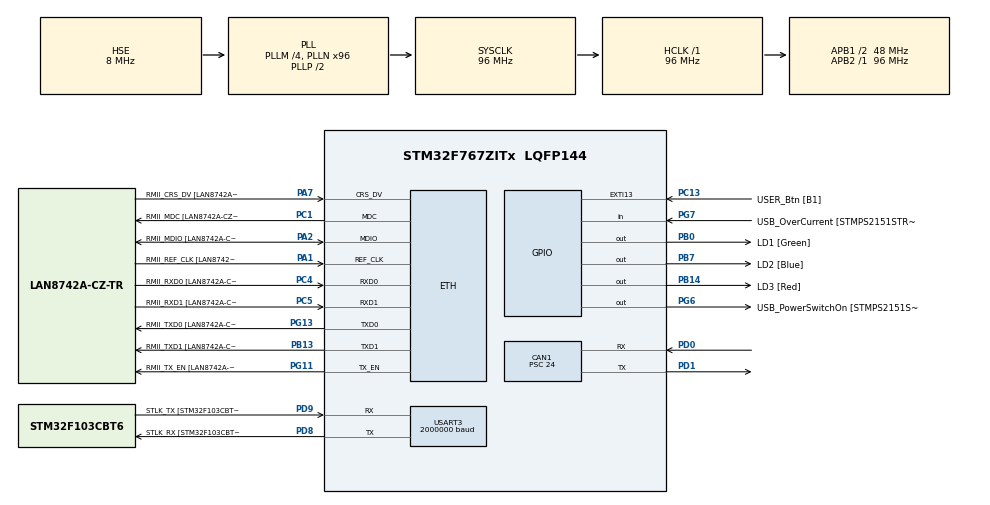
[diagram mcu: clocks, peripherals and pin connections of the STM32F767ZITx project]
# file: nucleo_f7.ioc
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CAN1.BS1=CAN_BS1_2TQ
CAN1.CalculateBaudRate=500000
CAN1.CalculateTimeBit=2000
CAN1.CalculateTimeQuantum=500.0
CAN1.Prescaler=24
ETH.MediaInterface=HAL_ETH_RMII_MODE
ETH.PHY_Name=LAN8742A_PHY_ADDRESS
ETH.PHY_Value=0
ETH.PhyAddress=0
FREERTOS.BinarySemaphores01=myBinarySem01,Dynamic,NULL;myBinarySem02,Dynamic,NULL
FREERTOS.Mutexes01=myMutex01,Dynamic,NULL
FREERTOS.Tasks01=defaultTask,0,128,StartDefaultTask,Default,NULL,Dynamic,NULL,NULL;Inv_KM,-3,128,StartTask02,Default,NULL,Dynamic,NULL,NULL;trajectry,-3,128,StartTask03,Default,NULL,Dynamic,NULL,NULL
Mcu.Family=STM32F7
Mcu.Name=STM32F767ZITx
Mcu.Package=LQFP144
NVIC.CAN1_RX0_IRQn=true\:5\:0\:false\:false\:true\:true\:true\:true\:true
NVIC.CAN1_RX1_IRQn=true\:5\:0\:false\:false\:true\:true\:true\:true\:true
NVIC.PriorityGroup=NVIC_PRIORITYGROUP_4
NVIC.TIM1_UP_TIM10_IRQn=true\:15\:0\:false\:false\:true\:false\:false\:true\:true
NVIC.TimeBase=TIM1_UP_TIM10_IRQn
NVIC.TimeBaseIP=TIM1
NVIC.USART3_IRQn=true\:5\:0\:false\:false\:true\:true\:true\:true\:true
PA1.GPIO_Label=RMII_REF_CLK [LAN8742A-CZ-TR_REFCLK0]
PA1.Mode=RMII
PA1.Signal=ETH_REF_CLK
PA10.GPIO_Label=USB_ID
PA10.Signal=USB_OTG_FS_ID
PA11.GPIO_Mode=GPIO_MODE_AF_PP
PA11.GPIO_PuPd=GPIO_NOPULL
PA11.GPIO_Speed=GPIO_SPEED_FREQ_VERY_HIGH
PA11.Signal=USB_OTG_FS_DM
PA12.GPIO_Mode=GPIO_MODE_AF_PP
PA12.GPIO_PuPd=GPIO_NOPULL
PA12.GPIO_Speed=GPIO_SPEED_FREQ_VERY_HIGH
PA12.Signal=USB_OTG_FS_DP
PA13.GPIO_Label=TMS
PA13.Mode=Serial_Wire
PA13.Signal=SYS_JTMS-SWDIO
PA14.GPIO_Label=TCK
PA14.Mode=Serial_Wire
PA14.Signal=SYS_JTCK-SWCLK
PA2.GPIO_Label=RMII_MDIO [LAN8742A-CZ-TR_MDIO]
PA2.Mode=RMII
PA2.Signal=ETH_MDIO
PA7.GPIO_Label=RMII_CRS_DV [LAN8742A-CZ-TR_CRS_DV]
PA7.Mode=RMII
PA7.Signal=ETH_CRS_DV
PA8.GPIO_Label=USB_SOF [TP1]
PA8.Signal=USB_OTG_FS_SOF
PA9.GPIO_Label=USB_VBUS
PA9.Signal=USB_OTG_FS_VBUS
PB0.GPIO_Label=LD1 [Green]
PB0.Signal=GPIO_Output
PB13.GPIO_Label=RMII_TXD1 [LAN8742A-CZ-TR_TXD1]
PB13.Mode=RMII
PB13.Signal=ETH_TXD1
PB14.GPIO_Label=LD3 [Red]
PB14.Signal=GPIO_Output
PB3.GPIO_Label=SWO
PB3.Signal=SYS_JTDO-SWO
PB7.GPIO_Label=LD2 [Blue]
PB7.Signal=GPIO_Output
PC1.GPIO_Label=RMII_MDC [LAN8742A-CZ-TR_MDC]
PC1.Mode=RMII
PC1.Signal=ETH_MDC
PC13.GPIO_Label=USER_Btn [B1]
PC13.Signal=GPXTI13
PC14/OSC32_IN.Mode=LSE-External-Oscillator
PC14/OSC32_IN.Signal=RCC_OSC32_IN
PC15/OSC32_OUT.Mode=LSE-External-Oscillator
PC15/OSC32_OUT.Signal=RCC_OSC32_OUT
PC4.GPIO_Label=RMII_RXD0 [LAN8742A-CZ-TR_RXD0]
PC4.Mode=RMII
PC4.Signal=ETH_RXD0
PC5.GPIO_Label=RMII_RXD1 [LAN8742A-CZ-TR_RXD1]
PC5.Mode=RMII
PC5.Signal=ETH_RXD1
PD0.Mode=CAN_Activate
PD0.Signal=CAN1_RX
PD1.Mode=CAN_Activate
PD1.Signal=CAN1_TX
PD8.GPIO_Label=STLK_RX [STM32F103CBT6_PA3]
PD8.Mode=Asynchronous
PD8.Signal=USART3_TX
PD9.GPIO_Label=STLK_TX [STM32F103CBT6_PA2]
PD9.Mode=Asynchronous
PD9.Signal=USART3_RX
PG11.GPIO_Label=RMII_TX_EN [LAN8742A-CZ-TR_TXEN]
PG11.Mode=RMII
PG11.Signal=ETH_TX_EN
PG13.GPIO_Label=RMII_TXD0 [LAN8742A-CZ-TR_TXD0]
PG13.Mode=RMII
PG13.Signal=ETH_TXD0
PG6.GPIO_Label=USB_PowerSwitchOn [STMPS2151STR_EN]
PG6.Signal=GPIO_Output
PG7.GPIO_Label=USB_OverCurrent [STMPS2151STR_FAULT]
PG7.Signal=GPIO_Input
PH0/OSC_IN.GPIO_Label=MCO [STM32F103CBT6_PA8]
PH0/OSC_IN.Mode=HSE-External-Oscillator
PH0/OSC_IN.Signal=RCC_OSC_IN
PH1/OSC_OUT.Mode=HSE-External-Oscillator
PH1/OSC_OUT.Signal=RCC_OSC_OUT
ProjectManager.HeapSize=0x200
ProjectManager.StackSize=0x400
ProjectManager.TargetToolchain=MDK-ARM V5.32
RCC.48MHZClocksFreq_Value=24000000
RCC.AHBFreq_Value=96000000
RCC.APB1CLKDivider=RCC_HCLK_DIV2
RCC.APB1Freq_Value=48000000
RCC.APB1TimFreq_Value=96000000
RCC.APB2Freq_Value=96000000
RCC.APB2TimCLKDivider=1
RCC.APB2TimFreq_Value=96000000
RCC.CortexFreq_Value=96000000
RCC.HCLKFreq_Value=96000000
RCC.HSE_VALUE=8000000
RCC.HSI_VALUE=16000000
RCC.PLLM=4
RCC.PLLMUL=RCC_PLL_MUL9
RCC.PLLN=96
RCC.PLLQ=4
RCC.PLLSourceVirtual=RCC_PLLSOURCE_HSE
RCC.PREFETCH_ENABLE=1
RCC.PRESCALERUSB=RCC_USBCLKSOURCE_PLL_DIV1_5
RCC.SYSCLKFreq_VALUE=96000000
RCC.SYSCLKSource=RCC_SYSCLKSOURCE_PLLCLK
RCC.SYSCLKSourceVirtual=RCC_SYSCLKSOURCE_PLLCLK
RCC.USBFreq_Value=48000000
RCC.VCOOutputFreq_Value=192000000
USART3.BaudRate=2000000
USART3.VirtualMode-Asynchronous=VM_ASYNC
VP_FREERTOS_VS_CMSIS_V1.Mode=CMSIS_V1
VP_SYS_VS_tim1.Mode=TIM1
board=NUCLEO-F767ZI

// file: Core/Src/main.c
/* USER CODE BEGIN Header */
/**
  ******************************************************************************
  * @file           : main.c
  * @brief          : Main program body
  ******************************************************************************
  * @attention
  *
  * Copyright (c) 2023 STMicroelectronics.
  * All rights reserved.
  *
  * This software is licensed under terms that can be found in the LICENSE file
  * in the root directory of this software component.
  * If no LICENSE file comes with this software, it is provided AS-IS.
  *
  ******************************************************************************
  */
/* USER CODE END Header */
#include "main.h"
#include "string.h"
#include "cmsis_os.h"

/* USER CODE BEGIN Includes */
#include <math.h>
#include <stdio.h>
double a=0,b=0,c=0;
double l1=173,l2=100,z0=300;
double t1,t2,zt;
double x=123,y=123,z=123;
char buffer[13];

uint8_t rxBuffer[15];
uint8_t rxdata[10];
uint8_t rxIndex = 0;
int 	 re[10];
double a1,a2,a3;
char txBuffer[32];
/* USER CODE END Includes */

#if defined ( __ICCARM__ ) /*!< IAR Compiler */
#pragma location=0x2007c000
ETH_DMADescTypeDef  DMARxDscrTab[ETH_RX_DESC_CNT]; /* Ethernet Rx DMA Descriptors */
#pragma location=0x2007c0a0
ETH_DMADescTypeDef  DMATxDscrTab[ETH_TX_DESC_CNT]; /* Ethernet Tx DMA Descriptors */

#elif defined ( __CC_ARM )  /* MDK ARM Compiler */

__attribute__((at(0x2007c000))) ETH_DMADescTypeDef  DMARxDscrTab[ETH_RX_DESC_CNT]; /* Ethernet Rx DMA Descriptors */
__attribute__((at(0x2007c0a0))) ETH_DMADescTypeDef  DMATxDscrTab[ETH_TX_DESC_CNT]; /* Ethernet Tx DMA Descriptors */

#elif defined ( __GNUC__ ) /* GNU Compiler */
ETH_DMADescTypeDef DMARxDscrTab[ETH_RX_DESC_CNT] __attribute__((section(".RxDecripSection"))); /* Ethernet Rx DMA Descriptors */
ETH_DMADescTypeDef DMATxDscrTab[ETH_TX_DESC_CNT] __attribute__((section(".TxDecripSection")));   /* Ethernet Tx DMA Descriptors */

#endif

ETH_TxPacketConfig TxConfig;

CAN_HandleTypeDef hcan1;

ETH_HandleTypeDef heth;

UART_HandleTypeDef huart3;

osThreadId defaultTaskHandle;
osThreadId Inv_KMHandle;
osThreadId trajectryHandle;
osMutexId myMutex01Handle;
osSemaphoreId myBinarySem01Handle;
osSemaphoreId myBinarySem02Handle;

void SystemClock_Config(void);
static void MX_GPIO_Init(void);
static void MX_ETH_Init(void);
static void MX_USART3_UART_Init(void);
static void MX_CAN1_Init(void);
void StartDefaultTask(void const * argument);
void StartTask02(void const * argument);
void StartTask03(void const * argument);

/* USER CODE BEGIN 0 */
void func(void);
void cant(void);
	CAN_TxHeaderTypeDef   TxHeader;
CAN_RxHeaderTypeDef   RxHeader;
uint8_t               TxData[9];
uint8_t               RxData[8];
uint8_t               RxData1[9];
uint32_t              TxMailbox;
int datacheck=0,angle1,angle2,angle3;
void HAL_CAN_RxFifo1MsgPendingCallback(CAN_HandleTypeDef *hcan)
{
	datacheck=1;
	//HAL_CAN_GetRxMessage(hcan,CAN_RX_FIFO1,&RxHeader,RxData);
      if (HAL_CAN_GetRxMessage(hcan, CAN_RX_FIFO1,&RxHeader,RxData)!=HAL_OK)
  {
    Error_Handler();
  }
	if (RxHeader.StdId==0x124)
      {
        RxData1[0]=RxData[0];
				RxData1[1]=RxData[1];
	   		RxData1[2]=RxData[2];
	angle1=(RxData[0]*100)+(RxData[1]*10)+(RxData[2]*1);
      }
	if (RxHeader.StdId==0x136)
      {
	    RxData1[3]=RxData[0];
			RxData1[4]=RxData[1];
		  RxData1[5]=RxData[2];
	angle2=(RxData[0]*100)+(RxData[1]*10)+(RxData[2]*1);
      }
	if (RxHeader.StdId==0x177)
      {
		    RxData1[6]=RxData[0];
				RxData1[7]=RxData[1];
			 RxData1[8]=RxData[2];
	angle3=(RxData[0]*100)+(RxData[1]*10)+(RxData[2]*1);
      }

		}

/* USER CODE END 0 */

int main(void)
{

  /* MCU Configuration--------------------------------------------------------*/

  /* Reset of all peripherals, Initializes the Flash interface and the Systick. */
  HAL_Init();

  /* Configure the system clock */
  SystemClock_Config();

  /* Initialize all configured peripherals */
  MX_GPIO_Init();
  MX_ETH_Init();
  MX_USART3_UART_Init();
  MX_CAN1_Init();

  /* Create the mutex(es) */
  /* definition and creation of myMutex01 */
  osMutexDef(myMutex01);
  myMutex01Handle = osMutexCreate(osMutex(myMutex01));

  /* Create the semaphores(s) */
  /* definition and creation of myBinarySem01 */
  osSemaphoreDef(myBinarySem01);
  myBinarySem01Handle = osSemaphoreCreate(osSemaphore(myBinarySem01), 1);

  /* definition and creation of myBinarySem02 */
  osSemaphoreDef(myBinarySem02);
  myBinarySem02Handle = osSemaphoreCreate(osSemaphore(myBinarySem02), 1);

  /* Create the thread(s) */
  /* definition and creation of defaultTask */
  osThreadDef(defaultTask, StartDefaultTask, osPriorityNormal, 0, 128);
  defaultTaskHandle = osThreadCreate(osThread(defaultTask), NULL);

  /* definition and creation of Inv_KM */
  osThreadDef(Inv_KM, StartTask02, osPriorityIdle, 0, 128);
  Inv_KMHandle = osThreadCreate(osThread(Inv_KM), NULL);

  /* definition and creation of trajectry */
  osThreadDef(trajectry, StartTask03, osPriorityIdle, 0, 128);
  trajectryHandle = osThreadCreate(osThread(trajectry), NULL);

  /* USER CODE BEGIN RTOS_THREADS */
		 HAL_CAN_Start(&hcan1);
HAL_CAN_ActivateNotification(&hcan1, CAN_IT_RX_FIFO1_MSG_PENDING);
TxHeader.DLC =10;
RxHeader.DLC =3;
TxHeader.IDE = CAN_ID_STD;
TxHeader.RTR = CAN_RTR_DATA;
TxHeader.StdId = 0xFFFE;
TxHeader.TransmitGlobalTime=DISABLE;
TxHeader.ExtId=0;
HAL_UART_Init(&huart3);
 HAL_UART_Receive_IT(&huart3,rxBuffer,13);
  /* add threads, ... */
  /* USER CODE END RTOS_THREADS */

  /* Start scheduler */
  osKernelStart();
  /* We should never get here as control is now taken by the scheduler */
  /* Infinite loop */
  while (1)
  {

  }
}

void SystemClock_Config(void)
{
  RCC_OscInitTypeDef RCC_OscInitStruct = {0};
  RCC_ClkInitTypeDef RCC_ClkInitStruct = {0};

  /** Configure LSE Drive Capability
  */
  HAL_PWR_EnableBkUpAccess();

  /** Configure the main internal regulator output voltage
  */
  __HAL_RCC_PWR_CLK_ENABLE();
  __HAL_PWR_VOLTAGESCALING_CONFIG(PWR_REGULATOR_VOLTAGE_SCALE3);

  /** Initializes the RCC Oscillators according to the specified parameters
  * in the RCC_OscInitTypeDef structure.
  */
  RCC_OscInitStruct.OscillatorType = RCC_OSCILLATORTYPE_HSE;
  RCC_OscInitStruct.HSEState = RCC_HSE_ON;
  RCC_OscInitStruct.PLL.PLLState = RCC_PLL_ON;
  RCC_OscInitStruct.PLL.PLLSource = RCC_PLLSOURCE_HSE;
  RCC_OscInitStruct.PLL.PLLM = 4;
  RCC_OscInitStruct.PLL.PLLN = 96;
  RCC_OscInitStruct.PLL.PLLP = RCC_PLLP_DIV2;
  RCC_OscInitStruct.PLL.PLLQ = 4;
  RCC_OscInitStruct.PLL.PLLR = 2;
  if (HAL_RCC_OscConfig(&RCC_OscInitStruct) != HAL_OK)
  {
    Error_Handler();
  }

  /** Activate the Over-Drive mode
  */
  if (HAL_PWREx_EnableOverDrive() != HAL_OK)
  {
    Error_Handler();
  }

  /** Initializes the CPU, AHB and APB buses clocks
  */
  RCC_ClkInitStruct.ClockType = RCC_CLOCKTYPE_HCLK|RCC_CLOCKTYPE_SYSCLK
                              |RCC_CLOCKTYPE_PCLK1|RCC_CLOCKTYPE_PCLK2;
  RCC_ClkInitStruct.SYSCLKSource = RCC_SYSCLKSOURCE_PLLCLK;
  RCC_ClkInitStruct.AHBCLKDivider = RCC_SYSCLK_DIV1;
  RCC_ClkInitStruct.APB1CLKDivider = RCC_HCLK_DIV2;
  RCC_ClkInitStruct.APB2CLKDivider = RCC_HCLK_DIV1;

  if (HAL_RCC_ClockConfig(&RCC_ClkInitStruct, FLASH_LATENCY_3) != HAL_OK)
  {
    Error_Handler();
  }
}

static void MX_CAN1_Init(void)
{

  hcan1.Instance = CAN1;
  hcan1.Init.Prescaler = 24;
  hcan1.Init.Mode = CAN_MODE_NORMAL;
  hcan1.Init.SyncJumpWidth = CAN_SJW_1TQ;
  hcan1.Init.TimeSeg1 = CAN_BS1_2TQ;
  hcan1.Init.TimeSeg2 = CAN_BS2_1TQ;
  hcan1.Init.TimeTriggeredMode = DISABLE;
  hcan1.Init.AutoBusOff = DISABLE;
  hcan1.Init.AutoWakeUp = DISABLE;
  hcan1.Init.AutoRetransmission = DISABLE;
  hcan1.Init.ReceiveFifoLocked = DISABLE;
  hcan1.Init.TransmitFifoPriority = DISABLE;
  if (HAL_CAN_Init(&hcan1) != HAL_OK)
  {
    Error_Handler();
  }
  /* USER CODE BEGIN CAN1_Init 2 */
 CAN_FilterTypeDef canfilterconfig;
  canfilterconfig.FilterActivation = CAN_FILTER_ENABLE;
  canfilterconfig.FilterBank =18;  // which filter bank to use from the assigned ones
  canfilterconfig.FilterFIFOAssignment = CAN_FILTER_FIFO1;
  canfilterconfig.FilterIdHigh = 0x124<<5;
  canfilterconfig.FilterIdLow = 0x0000;
  canfilterconfig.FilterMaskIdHigh = 0x124<<5;
  canfilterconfig.FilterMaskIdLow = 0x0000;
  canfilterconfig.FilterMode = CAN_FILTERMODE_IDMASK;
  canfilterconfig.FilterScale = CAN_FILTERSCALE_32BIT;
  canfilterconfig.SlaveStartFilterBank =40;  // how many filters to assign to the CAN1 (master can)
  HAL_CAN_ConfigFilter(&hcan1,&canfilterconfig);

  /* USER CODE END CAN1_Init 2 */

}

static void MX_ETH_Init(void)
{

   static uint8_t MACAddr[6];

  heth.Instance = ETH;
  MACAddr[0] = 0x00;
  MACAddr[1] = 0x80;
  MACAddr[2] = 0xE1;
  MACAddr[3] = 0x00;
  MACAddr[4] = 0x00;
  MACAddr[5] = 0x00;
  heth.Init.MACAddr = &MACAddr[0];
  heth.Init.MediaInterface = HAL_ETH_RMII_MODE;
  heth.Init.TxDesc = DMATxDscrTab;
  heth.Init.RxDesc = DMARxDscrTab;
  heth.Init.RxBuffLen = 1524;

  if (HAL_ETH_Init(&heth) != HAL_OK)
  {
    Error_Handler();
  }

  memset(&TxConfig, 0 , sizeof(ETH_TxPacketConfig));
  TxConfig.Attributes = ETH_TX_PACKETS_FEATURES_CSUM | ETH_TX_PACKETS_FEATURES_CRCPAD;
  TxConfig.ChecksumCtrl = ETH_CHECKSUM_IPHDR_PAYLOAD_INSERT_PHDR_CALC;
  TxConfig.CRCPadCtrl = ETH_CRC_PAD_INSERT;

}

static void MX_USART3_UART_Init(void)
{

  huart3.Instance = USART3;
  huart3.Init.BaudRate = 2000000;
  huart3.Init.WordLength = UART_WORDLENGTH_8B;
  huart3.Init.StopBits = UART_STOPBITS_1;
  huart3.Init.Parity = UART_PARITY_NONE;
  huart3.Init.Mode = UART_MODE_TX_RX;
  huart3.Init.HwFlowCtl = UART_HWCONTROL_NONE;
  huart3.Init.OverSampling = UART_OVERSAMPLING_16;
  huart3.Init.OneBitSampling = UART_ONE_BIT_SAMPLE_DISABLE;
  huart3.AdvancedInit.AdvFeatureInit = UART_ADVFEATURE_NO_INIT;
  if (HAL_UART_Init(&huart3) != HAL_OK)
  {
    Error_Handler();
  }

}

static void MX_GPIO_Init(void)
{
  GPIO_InitTypeDef GPIO_InitStruct = {0};

  /* GPIO Ports Clock Enable */
  __HAL_RCC_GPIOC_CLK_ENABLE();
  __HAL_RCC_GPIOH_CLK_ENABLE();
  __HAL_RCC_GPIOA_CLK_ENABLE();
  __HAL_RCC_GPIOB_CLK_ENABLE();
  __HAL_RCC_GPIOD_CLK_ENABLE();
  __HAL_RCC_GPIOG_CLK_ENABLE();

  /*Configure GPIO pin Output Level */
  HAL_GPIO_WritePin(GPIOB, LD1_Pin|LD3_Pin|LD2_Pin, GPIO_PIN_RESET);

  /*Configure GPIO pin Output Level */
  HAL_GPIO_WritePin(USB_PowerSwitchOn_GPIO_Port, USB_PowerSwitchOn_Pin, GPIO_PIN_RESET);

  /*Configure GPIO pin : USER_Btn_Pin */
  GPIO_InitStruct.Pin = USER_Btn_Pin;
  GPIO_InitStruct.Mode = GPIO_MODE_IT_RISING;
  GPIO_InitStruct.Pull = GPIO_NOPULL;
  HAL_GPIO_Init(USER_Btn_GPIO_Port, &GPIO_InitStruct);

  /*Configure GPIO pins : LD1_Pin LD3_Pin LD2_Pin */
  GPIO_InitStruct.Pin = LD1_Pin|LD3_Pin|LD2_Pin;
  GPIO_InitStruct.Mode = GPIO_MODE_OUTPUT_PP;
  GPIO_InitStruct.Pull = GPIO_NOPULL;
  GPIO_InitStruct.Speed = GPIO_SPEED_FREQ_LOW;
  HAL_GPIO_Init(GPIOB, &GPIO_InitStruct);

  /*Configure GPIO pin : USB_PowerSwitchOn_Pin */
  GPIO_InitStruct.Pin = USB_PowerSwitchOn_Pin;
  GPIO_InitStruct.Mode = GPIO_MODE_OUTPUT_PP;
  GPIO_InitStruct.Pull = GPIO_NOPULL;
  GPIO_InitStruct.Speed = GPIO_SPEED_FREQ_LOW;
  HAL_GPIO_Init(USB_PowerSwitchOn_GPIO_Port, &GPIO_InitStruct);

  /*Configure GPIO pin : USB_OverCurrent_Pin */
  GPIO_InitStruct.Pin = USB_OverCurrent_Pin;
  GPIO_InitStruct.Mode = GPIO_MODE_INPUT;
  GPIO_InitStruct.Pull = GPIO_NOPULL;
  HAL_GPIO_Init(USB_OverCurrent_GPIO_Port, &GPIO_InitStruct);

  /*Configure GPIO pins : USB_SOF_Pin USB_ID_Pin PA11 PA12 */
  GPIO_InitStruct.Pin = USB_SOF_Pin|USB_ID_Pin|GPIO_PIN_11|GPIO_PIN_12;
  GPIO_InitStruct.Mode = GPIO_MODE_AF_PP;
  GPIO_InitStruct.Pull = GPIO_NOPULL;
  GPIO_InitStruct.Speed = GPIO_SPEED_FREQ_VERY_HIGH;
  GPIO_InitStruct.Alternate = GPIO_AF10_OTG_FS;
  HAL_GPIO_Init(GPIOA, &GPIO_InitStruct);

  /*Configure GPIO pin : USB_VBUS_Pin */
  GPIO_InitStruct.Pin = USB_VBUS_Pin;
  GPIO_InitStruct.Mode = GPIO_MODE_INPUT;
  GPIO_InitStruct.Pull = GPIO_NOPULL;
  HAL_GPIO_Init(USB_VBUS_GPIO_Port, &GPIO_InitStruct);

}

/* USER CODE BEGIN 4 */

 void HAL_UART_RxCpltCallback(UART_HandleTypeDef*huart)
{
	   	 re[0]=rxBuffer[0]-'0';
	     re[1]=rxBuffer[1]-'0';
	     re[2]=rxBuffer[2]-'0';
	     re[3]=rxBuffer[3]-'0';
	     re[4]=rxBuffer[5]-'0';
	     re[5]=rxBuffer[6]-'0';
	     re[6]=rxBuffer[7]-'0';
	     re[7]=rxBuffer[9]-'0';
	     re[8]=rxBuffer[10]-'0';
	     re[9]=rxBuffer[11]-'0';
   HAL_UART_Receive_IT(&huart3,rxBuffer,13);
	     //osSemaphoreRelease(myBinarySem01Handle);
	func();

}
void func()
{
  x=re[1]*100+re[2]*10+re[3];
	     y=re[4]*100+re[5]*10+re[6];
	     z=re[7]*100+re[8]*10+re[9];
	if(re[0]==1)
	{
	t2=300*acos((x*x+y*y-l1*l1-l2*l2)/(2*l1*l2));
	a=cos(t2/300);
	b=sin(t2/300);
	t1=300*atan2((l2*b*x+(l1+l2*a)*y),(-l2*b*y+(l1+l2*a)*x));
	zt=z0-z;
	sprintf(buffer,"\nI%d,%d,%d#",(int)t1,(int)t2,(int)zt);
	HAL_UART_Transmit(&huart3, (uint8_t*)buffer, strlen(buffer),0xFFFF);
		//cant();
	}
	if(re[0]==2)
	{
	      t1=x;
		    t2=y;
		    zt=z;
		cant();
	}

}
void cant()
{
 TxData[0]=(int)t1/100;
	       TxData[1]=((int)t1/10)%10;
	       TxData[2]=(int)t1%10;
	       TxData[3]=(int)t2/100;
	       TxData[4]=((int)t2/10)%10;
	       TxData[5]=(int)t2%10;
	       TxData[6]=((int)zt/100);
	       TxData[7]=((int)zt/10)%10;
	       TxData[8]=(int)zt%10;
				HAL_CAN_AddTxMessage(&hcan1,&TxHeader,TxData,&TxMailbox);
}

/* USER CODE END 4 */

void StartDefaultTask(void const * argument)
{
  /* USER CODE BEGIN 5 */
  /* Infinite loop */
  for(;;)
  {
		//	osSemaphoreWait(myBinarySem02Handle,osWaitForever);

    osDelay(50);
  }
  /* USER CODE END 5 */
}

void StartTask02(void const * argument)
{
  /* USER CODE BEGIN StartTask02 */
  /* Infinite loop */
  for(;;)
  {

		//osSemaphoreWait(myBinarySem01Handle,osWaitForever);

	//osSemaphoreRelease(myBinarySem02Handle);
    osDelay(20);

  }
  /* USER CODE END StartTask02 */
}

void StartTask03(void const * argument)
{
  /* USER CODE BEGIN StartTask03 */
  /* Infinite loop */
  for(;;)
  {
		   if(datacheck==1)
			 {
				 sprintf(buffer,"\nCurrent_Motor_Angles:%i,%i,%i$",angle1,angle2,angle3);
	      HAL_UART_Transmit(&huart3,(uint8_t*)buffer, strlen(buffer),0xFFFF);
         datacheck=0;
			 }
		   osDelay(1000);
  }
  /* USER CODE END StartTask03 */
}

void HAL_TIM_PeriodElapsedCallback(TIM_HandleTypeDef *htim)
{
  if (htim->Instance == TIM1) {
    HAL_IncTick();
  }
}

void Error_Handler(void)
{
  __disable_irq();
  while (1)
  {
  }
}
